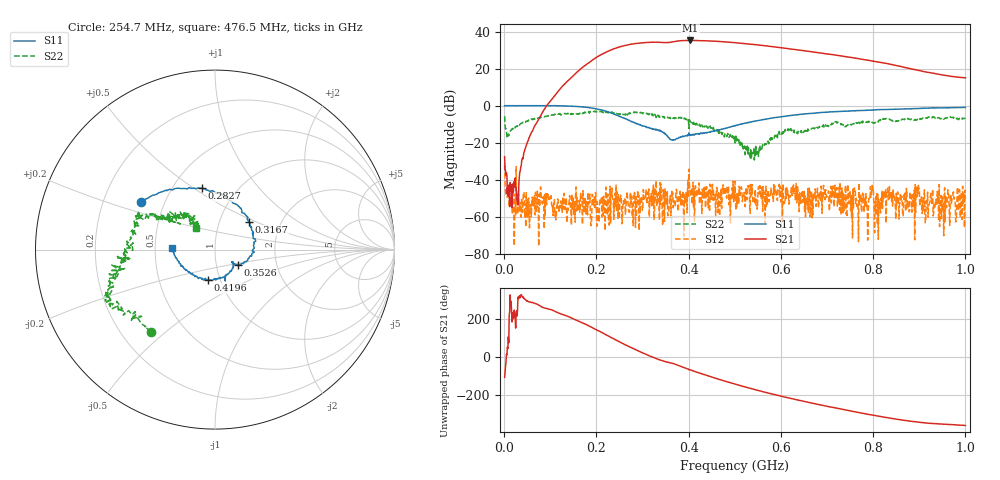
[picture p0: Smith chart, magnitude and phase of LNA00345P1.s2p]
! Created with skrf 1.9.0 (http://scikit-rf.org).
# Hz S RI R 50.0
!freq ReS11 ImS11 ReS21 ImS21 ReS12 ImS12 ReS22 ImS22
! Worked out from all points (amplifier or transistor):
!   1001 points, 1 MHz to 1 GHz, reference 50 ohm
!   highest |S21| = 35.2 dB at 403.6 MHz (marker M1)
!   |S21| within 3 dB of that: 257.3 MHz to 570.5 MHz (313.2 MHz wide, 75.7 % of centre)
!   unconditionally stable (mu >= 1): start of sweep to 71.77 MHz; 243 MHz to 398.6 MHz; 401.4 MHz to end of sweep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
!   at 166.8 MHz: K = 0.71, MSG = 34.5 dB, |S12| = -49.0 dB
!   at 500.5 MHz: K = 1.20, MAG = 34.7 dB, |S12| = -40.8 dB
!   at 1 GHz: K = 4.11, MAG = 23.5 dB, |S12| = -50.1 dB
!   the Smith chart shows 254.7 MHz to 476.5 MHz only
!   S11 on the Smith chart (normalised r, x): 254.7 MHz: 0.37, +0.26; 282.7 MHz: 0.70, +0.54; 316.7 MHz: 1.38, +0.45; 352.6 MHz: 1.28, -0.22; 419.6 MHz: 0.87, -0.30; 476.5 MHz: 0.62, +0.01
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1000000  0.9908 0.0147  -0.0121 -0.0399  -0.015 0.0204  0.401 0.326
1.07893e8  0.5222 -0.8495  -0.7903 -1.552  -0.00157 -0.00177  0.4373 -0.3747
1.67833e8  -0.2421 -0.8954  -10.29 -0.449  -0.00266 -0.000672  0.0313 -0.6352
2.13787e8  -0.6876 -0.307  -15.04 20.01  -0.000754 0.00351  -0.2225 -0.6574
2.32768e8  -0.6322 0.0017  -6.633 31.76  -0.003 -0.00234  -0.2828 -0.5878
2.54746e8  -0.4111 0.2664  10.94 38.4  0.000875 0.00136  -0.3577 -0.4566
2.82718e8  -0.0707 0.342  35.24 30.95  -0.00203 0.00404  -0.5977 -0.2984
3.16684e8  0.1892 0.1537  51.08 4.3  -6.78e-05 0.00236  -0.5457 -0.1501
3.34666e8  0.2191 0.00784  50.32 -11.24  -0.000905 0.00437  -0.4966 -0.0509
3.52648e8  0.1295 -0.0857  45.34 -22.11  0.000974 0.00179  -0.4906 0.0478
3.75625e8  0.1013 -0.0796  40.93 -37.56  0.000766 0.00222  -0.4205 0.1751
4.03597e8  0.0348 -0.1575  21.81 -53.26  0.0019 0.00457  -0.3255 0.1756
4.19581e8  -0.0395 -0.1686  9.002 -56.47  0.00308 0.00325  -0.2597 0.178
4.45555e8  -0.1485 -0.1238  -11.36 -54.5  0.00137 -5.09e-05  -0.1453 0.199
4.76524e8  -0.238 0.00623  -30.64 -43.18  0.00382 -0.000598  -0.1072 0.1228
5.005e8  -0.2582 0.1341  -39.86 -30.67  0.00898 0.00171  -0.0734 0.0656
5.4046e8  -0.1824 0.3268  -44.02 -8.327  0.00194 -0.002  -0.0513 -0.00392
5.88412e8  0.019 0.4773  -36.15 12.63  0.0035 -0.0045  -0.1061 -0.1084
6.67333e8  0.392 0.4797  -13.03 25.07  0.000913 -0.000209  -0.2315 -0.0696
7.53247e8  0.668 0.2721  5.058 19.21  -0.000374 -0.000876  -0.3048 -0.00186
8.34166e8  0.7892 0.014  10.29 8.479  0.00193 -0.00353  -0.4344 0.0356
1e9  0.7241 -0.528  5.632 -0.00116  -0.00231 0.00213  -0.2756 0.3684
